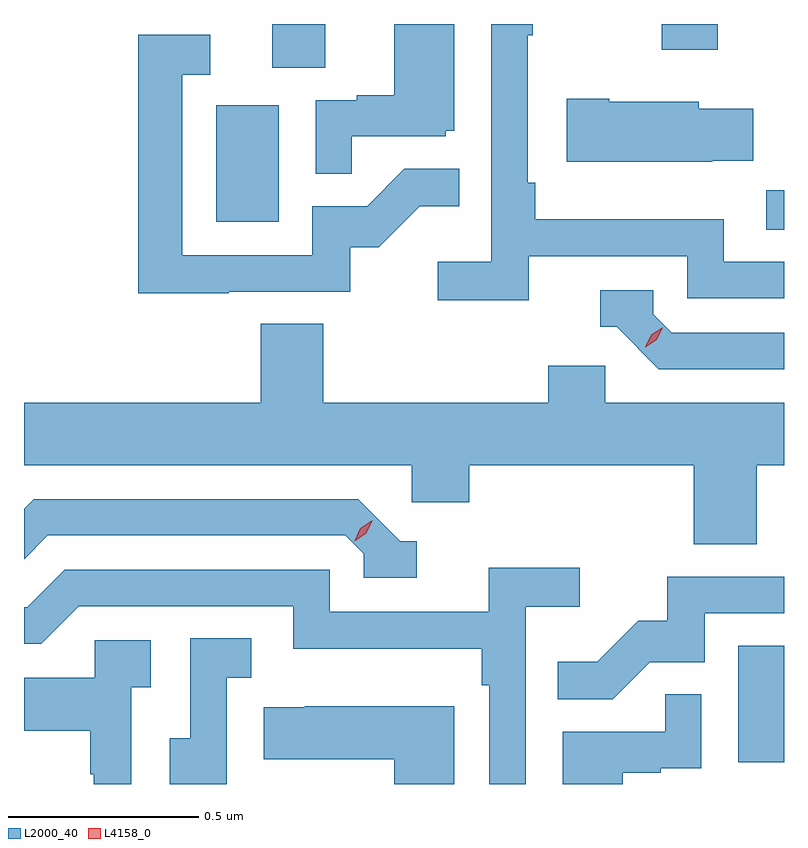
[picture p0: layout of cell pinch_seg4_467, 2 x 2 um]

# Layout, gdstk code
import gdstk
lib = gdstk.Library(unit=1e-6, precision=1e-09)
def R(c, l, rs):  # rectangles x0, y0, x1, y1
    for r in rs: c.add(gdstk.rectangle(r[:2], r[2:], *l))
def P(c, l, *ps):  # polygons
    for p in ps: c.add(gdstk.Polygon(p, *l))
L2000_40 = (2000, 40)
L4158_0 = (4158, 0)

pinch_seg4_467 = lib.new_cell('pinch_seg4_467')
R(pinch_seg4_467, L2000_40, [(914.168,785.382,914.288,785.689), (914.241,786.784,914.288,786.887), (912.794,786.804,912.958,787.111), (912.941,787.21,913.081,787.325), (913.966,787.257,914.113,787.325)])
P(pinch_seg4_467, L2000_40, [(913.616,786.714),(914.034,786.714),(914.034,786.603),(914.288,786.603),(914.288,786.699),(914.13,786.699),(914.13,786.811),(913.634,786.811),(913.634,786.907),(913.614,786.907),(913.614,787.295),(913.627,787.295),(913.627,787.325),(913.518,787.325),(913.518,786.7),(913.377,786.7),(913.377,786.598),(913.616,786.598)],
  [(913.151,787.029),(913.398,787.029),(913.398,787.044),(913.42,787.044),(913.42,787.325),(913.262,787.325),(913.262,787.138),(913.163,787.138),(913.163,787.125),(913.056,787.125),(913.056,786.931),(913.151,786.931)],
  [(912.827,786.621),(913.146,786.621),(913.146,786.738),(913.222,786.738),(913.329,786.845),(913.433,786.845),(913.433,786.944),(913.289,786.944),(913.191,786.846),(913.047,786.846),(913.047,786.717),(912.705,786.717),(912.705,787.191),(912.778,787.191),(912.778,787.297),(912.589,787.297),(912.589,786.616),(912.827,786.616)],
  [(914.099,786.965),(914.207,786.965),(914.207,787.102),(914.064,787.102),(914.064,787.12),(913.828,787.12),(913.828,787.128),(913.716,787.128),(913.716,786.962),(914.099,786.962)],
  [(914.288,786.513),(913.992,786.513),(913.944,786.561),(913.944,786.624),(913.805,786.624),(913.805,786.528),(913.848,786.528),(913.959,786.417),(914.288,786.417)],
  [(914.216,786.164),(914.288,786.164),(914.288,786.328),(913.818,786.328),(913.818,786.426),(913.667,786.426),(913.667,786.328),(913.076,786.328),(913.076,786.536),(912.911,786.536),(912.911,786.328),(912.288,786.328),(912.288,786.164),(913.308,786.164),(913.308,786.066),(913.46,786.066),(913.46,786.164),(914.051,786.164),(914.051,785.956),(914.216,785.956)],
  [(913.321,785.964),(913.278,785.964),(913.167,786.075),(912.314,786.075),(912.288,786.049),(912.288,785.916),(912.351,785.979),(913.134,785.979),(913.182,785.931),(913.182,785.868),(913.321,785.868)],
  [(913.608,785.792),(913.75,785.792),(913.75,785.894),(913.511,785.894),(913.511,785.778),(913.092,785.778),(913.092,785.889),(912.395,785.889),(912.296,785.79),(912.288,785.79),(912.288,785.694),(912.333,785.694),(912.432,785.793),(912.996,785.793),(912.996,785.681),(913.492,785.681),(913.492,785.585),(913.512,785.585),(913.512,785.325),(913.608,785.325)],
  [(913.935,785.646),(914.079,785.646),(914.079,785.775),(914.288,785.775),(914.288,785.871),(913.981,785.871),(913.981,785.754),(913.904,785.754),(913.797,785.647),(913.693,785.647),(913.693,785.548),(913.837,785.548)],
  [(912.822,785.605),(912.886,785.605),(912.886,785.708),(912.726,785.708),(912.726,785.445),(912.671,785.445),(912.671,785.325),(912.822,785.325)],
  [(912.57,785.579),(912.622,785.579),(912.622,785.703),(912.474,785.703),(912.474,785.605),(912.288,785.605),(912.288,785.465),(912.462,785.465),(912.462,785.351),(912.472,785.351),(912.472,785.325),(912.57,785.325)],
  [(913.864,785.355),(913.964,785.355),(913.964,785.367),(914.07,785.367),(914.07,785.561),(913.975,785.561),(913.975,785.463),(913.706,785.463),(913.706,785.325),(913.864,785.325)],
  [(913.42,785.53),(913.027,785.53),(913.027,785.527),(912.919,785.527),(912.919,785.39),(913.262,785.39),(913.262,785.325),(913.42,785.325)])
P(pinch_seg4_467, L4158_0, [(913.923,786.474),(913.923,786.474),(913.938,786.507),(913.968,786.526),(913.969,786.526),(913.969,786.526),(913.953,786.494),(913.923,786.474)],
  [(913.158,785.964),(913.158,785.965),(913.173,785.998),(913.203,786.018),(913.204,786.018),(913.204,786.018),(913.189,785.985),(913.158,785.964)])

lib.write_gds('pinch_seg4_467.gds')
